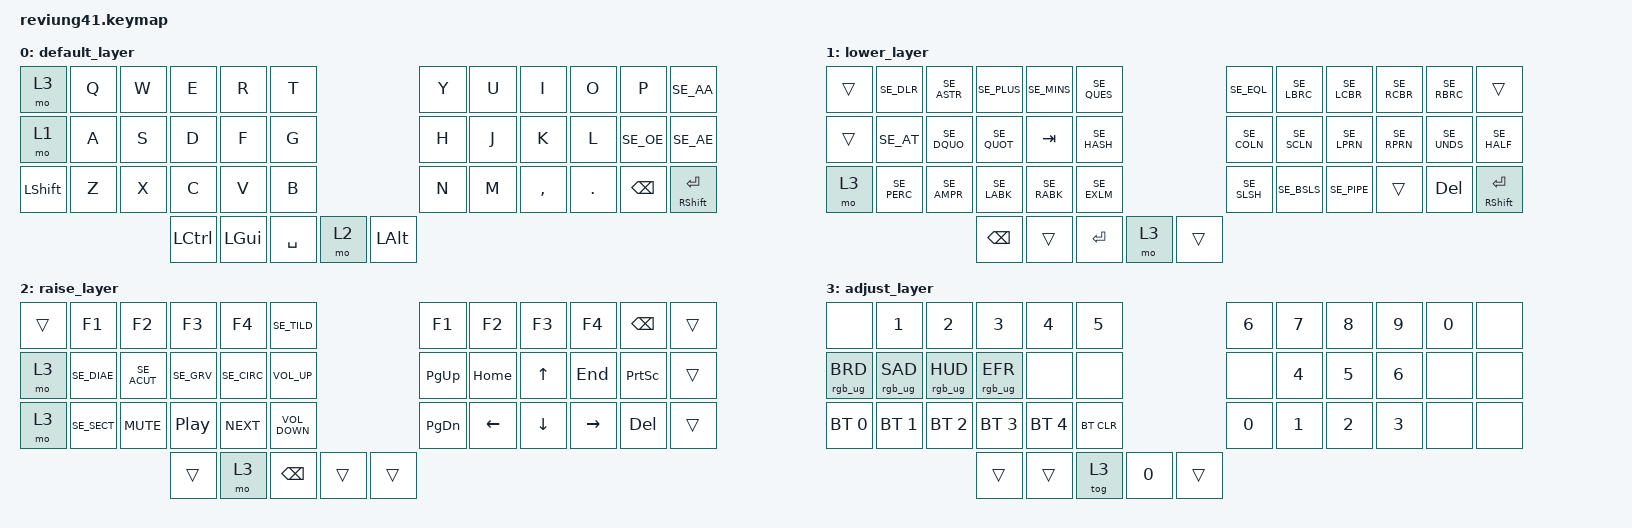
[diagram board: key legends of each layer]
/*
 * Copyright (c) 2020 The ZMK Contributors
 *
 * SPDX-License-Identifier: MIT
 */

#include <behaviors.dtsi>
#include "se_keys_ios.h"
#include <dt-bindings/zmk/bt.h>
#include <dt-bindings/zmk/rgb.h>

/ {
    combos {
        compatible = "zmk,combos";

        combo_esc {
            timeout-ms = <50>;
            key-positions = <0 1>;
            bindings = <&kp ESC>;
        };

        combo_f1 {
                    timeout-ms = <50>;
                    key-positions = <1 2>;
                    bindings = <&kp F1>;
        };

       combo_f2 {
                   timeout-ms = <50>;
                   key-positions = <2 3>;
                   bindings = <&kp F2>;
       };

       combo_f3 {
                  timeout-ms = <50>;
                  key-positions = <3 4>;
                  bindings = <&kp F3>;
       };
    };
};

/ {
        keymap {
                compatible = "zmk,keymap";

                default_layer {
                        bindings = <
   &mo 3         &kp Q      &kp W      &kp E       &kp R       &kp T                                                    &kp Y   &kp U  &kp I     &kp O   &kp P       &kp SE_AA
   &mo 1         &kp A      &kp S      &kp D       &kp F       &kp G                                                    &kp H   &kp J  &kp K     &kp L   &kp SE_OE   &kp SE_AE
   &kp LSHFT     &kp Z      &kp X      &kp C       &kp V       &kp B                                                    &kp N   &kp M  &kp COMMA &kp DOT &kp BSPC    &mt RSHFT RET

                                            &kp LCTRL    &kp LGUI   &kp SPACE  &mo 2   &kp LALT
                        >;
                };

                lower_layer {
                        bindings = <
   &trans      &kp SE_DLR      &kp SE_ASTR     &kp SE_PLUS         &kp SE_MINS     &kp SE_QUES        &kp SE_EQL        &kp SE_LBRC     &kp SE_LCBR    &kp SE_RCBR     &kp SE_RBRC     &trans
   &trans      &kp SE_AT       &kp SE_DQUO     &kp SE_QUOT         &kp TAB         &kp SE_HASH        &kp SE_COLN       &kp SE_SCLN     &kp SE_LPRN    &kp SE_RPRN     &kp SE_UNDS     &kp SE_HALF
   &mo 3       &kp SE_PERC     &kp SE_AMPR     &kp SE_LABK         &kp SE_RABK     &kp SE_EXLM        &kp SE_SLSH       &kp SE_BSLS     &kp SE_PIPE    &trans          &kp DEL          &mt RSHFT RET

                                                      &kp BSPC       &trans      &kp RET        &mo 3       &trans
                        >;
                };

                raise_layer {
                        bindings = <
   &trans &kp F1        &kp F2          &kp F3              &kp F4          &kp SE_TILD                                 &kp F1          &kp F2          &kp F3              &kp F4       &kp BSPC           &trans
   &mo 3 &kp SE_DIAE   &kp SE_ACUT     &kp SE_GRV          &kp SE_CIRC     &kp K_VOLUME_UP                             &kp PG_UP        &kp HOME        &kp UP_ARROW      &kp END           &kp PRINTSCREEN    &trans
   &mo 3  &kp SE_SECT   &kp C_MUTE      &kp C_PLAY_PAUSE    &kp C_NEXT      &kp C_VOLUME_DOWN                           &kp PG_DN        &kp LEFT_ARROW  &kp DOWN_ARROW    &kp RIGHT_ARROW   &kp DEL            &trans
                                &trans      &mo 3       &kp BSPC        &trans      &trans
                        >;
                };

                adjust_layer {
                        bindings = <
   &none    &kp N1       &kp N2       &kp N3 &kp N4       &kp N5                                                        &kp N6     &kp N7       &kp N8       &kp N9       &kp N0         &none
   &rgb_ug RGB_BRD &rgb_ug RGB_SAD &rgb_ug RGB_HUD &rgb_ug RGB_EFR &none &none                                          &none        &kp N4       &kp N5       &kp N6       &none        &none
   &bt BT_SEL 0 &bt BT_SEL 1 &bt BT_SEL 2 &bt BT_SEL 3 &bt BT_SEL 4 &bt BT_CLR                                          &kp N0       &kp N1       &kp N2       &kp N3       &none        &none
                                                             &trans      &trans       &tog 3        &kp N0      &trans
                        >;
                };
        };
};
/*
&rgb_ug RGB_BRI &rgb_ug RGB_SAI &rgb_ug RGB_HUI &rgb_ug RGB_EFF &none &rgb_ug RGB_TOG
*/
